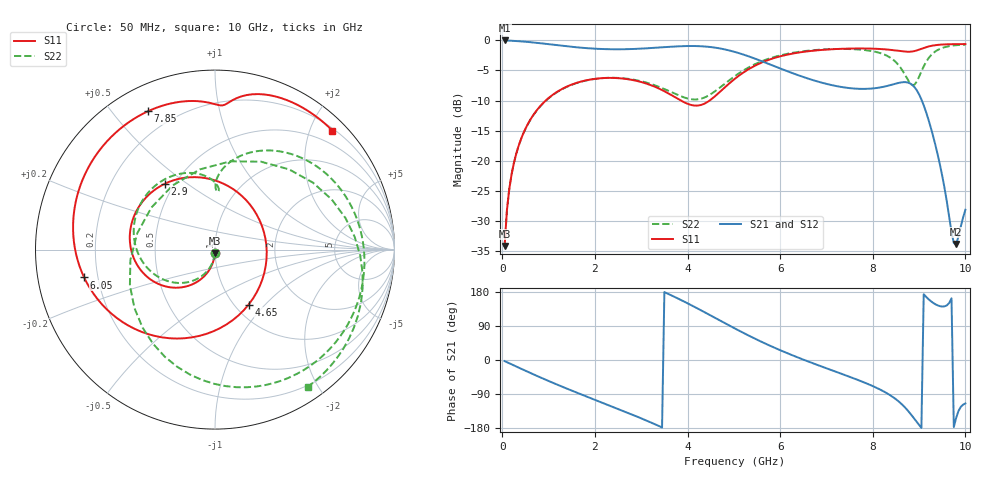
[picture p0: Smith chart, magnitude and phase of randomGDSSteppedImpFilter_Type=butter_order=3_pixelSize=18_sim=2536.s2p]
! freq	dB(S11)	phase(S11)	dB(S12)	phase(S12)
!  dB(S21)	phase(S21)	dB(S22)	phase(S22)
!S-par simulation data
#  GHz  S  DB  R 50
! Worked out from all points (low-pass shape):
!   200 points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, 50 MHz to 10 GHz, reference 50 ohm
!   highest |S21| = -0.01 dB at 50 MHz (marker M1); lowest = -33.9 dB at 9.8 GHz (marker M2)
!   |S21| within 3 dB of the highest: start of sweep to 5.449 GHz
!   lowest |S11| = -34.2 dB at 50 MHz (marker M3), VSWR 1.04, Z = 49.9 - j1.95 ohm
!   |S11| at or under -10 dB: start of sweep to 937.7 MHz; 3.858 GHz to 4.475 GHz (616.9 MHz wide, 14.8 % of centre)
!   |S22| runs from -34.2 to -0.7 dB; largest |S21 - S12| = 0
!   S11 on the Smith chart (normalised r, x): 50 MHz: 1.00, -0.04; 2.9 GHz: 0.44, +0.41; 4.65 GHz: 1.16, -0.81; 6.05 GHz: 0.15, -0.10; 7.85 GHz: 0.11, +0.62; 10 GHz: 0.24, +2.37
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0.05  -34.19 -91.6  -0.01 -2.9  -0.01 -2.9  -34.20 -92.1
0.2  -22.28 -99.8  -0.06 -11.5  -0.06 -11.5  -22.29 -101.5
0.5  -14.68 -115.8  -0.22 -28.3  -0.22 -28.3  -14.70 -120.0
1.1  -8.98 -145.9  -0.72 -60.6  -0.72 -60.6  -9.02 -155.1
1.75  -6.74 -176.2  -1.25 -93.0  -1.25 -93.0  -6.77 170.3
2.9  -6.72 127.2  -1.40 -148.8  -1.40 -148.8  -6.62 115.6
3.4  -8.07 94.4  -1.17 -175.2  -1.17 -175.2  -7.77 96.4
4  -10.53 33.4  -0.93 149.7  -0.93 149.7  -9.65 86.3
4.65  -8.90 -58.5  -1.27 107.6  -1.27 107.6  -8.13 88.6
5.05  -6.21 -100.4  -1.98 81.4  -1.98 81.4  -5.79 78.2
6.05  -2.55 -168.0  -4.81 23.3  -4.81 23.3  -2.40 31.7
6.7  -1.72 161.1  -6.58 -8.3  -6.58 -8.3  -1.63 0.6
7.3  -1.40 136.6  -7.71 -35.3  -7.71 -35.3  -1.42 -27.7
7.85  -1.35 115.9  -8.05 -61.0  -8.05 -61.0  -1.63 -56.6
8.35  -1.55 98.4  -7.49 -91.0  -7.49 -91.0  -2.73 -95.6
8.55  -1.74 92.3  -7.08 -108.4  -7.08 -108.4  -4.04 -123.3
8.75  -1.89 87.8  -6.99 -132.5  -6.99 -132.5  -6.47 -173.0
9  -1.53 83.3  -8.97 -171.5  -8.97 -171.5  -6.04 80.2
9.15  -1.12 78.4  -11.89 166.9  -11.89 166.9  -3.60 34.4
9.3  -0.85 72.4  -15.82 151.0  -15.82 151.0  -2.14 5.2
9.8  -0.62 52.7  -33.85 -153.1  -33.85 -153.1  -0.80 -44.3
10  -0.62 45.4  -28.15 -114.7  -28.15 -114.7  -0.70 -56.0
